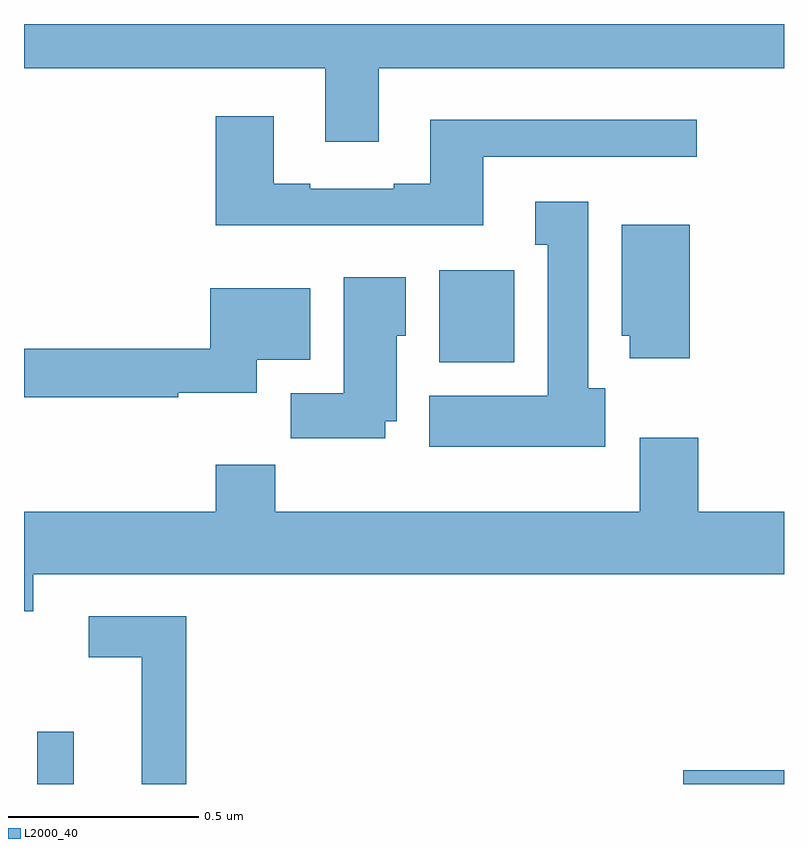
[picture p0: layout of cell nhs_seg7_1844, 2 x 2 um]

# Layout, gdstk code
import gdstk
lib = gdstk.Library(unit=1e-6, precision=1e-09)
def R(c, l, rs):  # rectangles x0, y0, x1, y1
    for r in rs: c.add(gdstk.rectangle(r[:2], r[2:], *l))
def P(c, l, *ps):  # polygons
    for p in ps: c.add(gdstk.Polygon(p, *l))
L2000_40 = (2000, 40)

nhs_seg7_1844 = lib.new_cell('nhs_seg7_1844')
R(nhs_seg7_1844, L2000_40, [(136.035,1064,136.131,1064.137), (137.735,1064,138,1064.036), (137.093,1065.11,137.29,1065.352)])
P(nhs_seg7_1844, L2000_40, [(136.933,1065.884),(138,1065.884),(138,1066),(136,1066),(136,1065.884),(136.793,1065.884),(136.793,1065.69),(136.933,1065.69)],
  [(137.209,1065.651),(137.77,1065.651),(137.77,1065.748),(137.069,1065.748),(137.069,1065.58),(136.973,1065.58),(136.973,1065.567),(136.753,1065.567),(136.753,1065.58),(136.657,1065.58),(136.657,1065.757),(136.505,1065.757),(136.505,1065.47),(137.209,1065.47)],
  [(137.53,1065.042),(137.485,1065.042),(137.485,1065.532),(137.345,1065.532),(137.345,1065.419),(137.378,1065.419),(137.378,1065.022),(137.066,1065.022),(137.066,1064.888),(137.53,1064.888)],
  [(137.752,1065.472),(137.573,1065.472),(137.573,1065.18),(137.594,1065.18),(137.594,1065.12),(137.752,1065.12)],
  [(136.951,1064.954),(136.981,1064.954),(136.981,1065.18),(137.005,1065.18),(137.005,1065.334),(136.841,1065.334),(136.841,1065.028),(136.702,1065.028),(136.702,1064.91),(136.951,1064.91)],
  [(136.406,1065.029),(136.612,1065.029),(136.612,1065.116),(136.753,1065.116),(136.753,1065.304),(136.49,1065.304),(136.49,1065.146),(136,1065.146),(136,1065.018),(136.406,1065.018)],
  [(136.024,1064.552),(138,1064.552),(138,1064.716),(137.774,1064.716),(137.774,1064.911),(137.621,1064.911),(137.621,1064.716),(136.661,1064.716),(136.661,1064.84),(136.505,1064.84),(136.505,1064.716),(136,1064.716),(136,1064.454),(136.024,1064.454)],
  [(136.427,1064.442),(136.17,1064.442),(136.17,1064.334),(136.31,1064.334),(136.31,1064),(136.427,1064)])

lib.write_gds('nhs_seg7_1844.gds')
